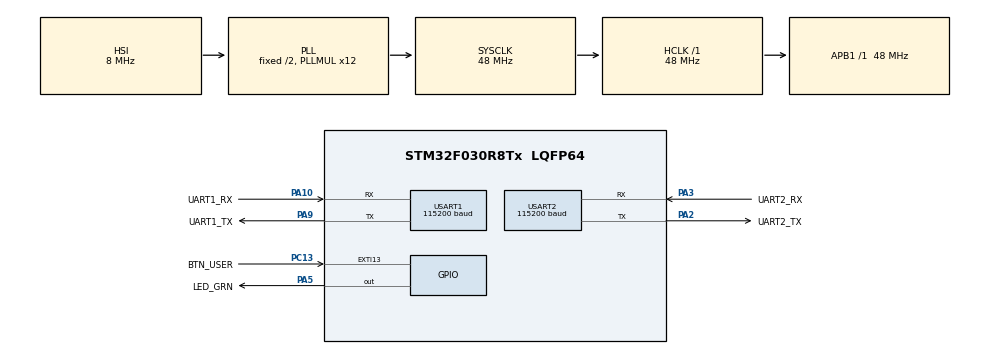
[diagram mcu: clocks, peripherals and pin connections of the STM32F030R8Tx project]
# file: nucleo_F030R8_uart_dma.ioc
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Dma.Request0=USART2_TX
Dma.Request1=USART2_RX
Dma.Request2=USART1_TX
Dma.Request3=USART1_RX
Dma.USART1_RX.3.Direction=DMA_PERIPH_TO_MEMORY
Dma.USART1_RX.3.Instance=DMA1_Channel3
Dma.USART1_RX.3.MemDataAlignment=DMA_MDATAALIGN_BYTE
Dma.USART1_RX.3.MemInc=DMA_MINC_ENABLE
Dma.USART1_RX.3.Mode=DMA_CIRCULAR
Dma.USART1_RX.3.PeriphDataAlignment=DMA_PDATAALIGN_BYTE
Dma.USART1_RX.3.PeriphInc=DMA_PINC_DISABLE
Dma.USART1_RX.3.Priority=DMA_PRIORITY_LOW
Dma.USART1_TX.2.Direction=DMA_MEMORY_TO_PERIPH
Dma.USART1_TX.2.Instance=DMA1_Channel2
Dma.USART1_TX.2.MemDataAlignment=DMA_MDATAALIGN_BYTE
Dma.USART1_TX.2.MemInc=DMA_MINC_ENABLE
Dma.USART1_TX.2.Mode=DMA_NORMAL
Dma.USART1_TX.2.PeriphDataAlignment=DMA_PDATAALIGN_BYTE
Dma.USART1_TX.2.PeriphInc=DMA_PINC_DISABLE
Dma.USART1_TX.2.Priority=DMA_PRIORITY_LOW
Dma.USART2_RX.1.Direction=DMA_PERIPH_TO_MEMORY
Dma.USART2_RX.1.Instance=DMA1_Channel5
Dma.USART2_RX.1.MemDataAlignment=DMA_MDATAALIGN_BYTE
Dma.USART2_RX.1.MemInc=DMA_MINC_ENABLE
Dma.USART2_RX.1.Mode=DMA_CIRCULAR
Dma.USART2_RX.1.PeriphDataAlignment=DMA_PDATAALIGN_BYTE
Dma.USART2_RX.1.PeriphInc=DMA_PINC_DISABLE
Dma.USART2_RX.1.Priority=DMA_PRIORITY_LOW
Dma.USART2_TX.0.Direction=DMA_MEMORY_TO_PERIPH
Dma.USART2_TX.0.Instance=DMA1_Channel4
Dma.USART2_TX.0.MemDataAlignment=DMA_MDATAALIGN_BYTE
Dma.USART2_TX.0.MemInc=DMA_MINC_ENABLE
Dma.USART2_TX.0.Mode=DMA_NORMAL
Dma.USART2_TX.0.PeriphDataAlignment=DMA_PDATAALIGN_BYTE
Dma.USART2_TX.0.PeriphInc=DMA_PINC_DISABLE
Dma.USART2_TX.0.Priority=DMA_PRIORITY_LOW
Mcu.Family=STM32F0
Mcu.Name=STM32F030R8Tx
Mcu.Package=LQFP64
NVIC.DMA1_Channel2_3_IRQn=true\:0\:0\:false\:true\:true\:2\:false\:true
NVIC.DMA1_Channel4_5_IRQn=true\:1\:0\:true\:true\:true\:1\:false\:true
NVIC.USART1_IRQn=true\:0\:0\:false\:true\:true\:3\:true\:true
NVIC.USART2_IRQn=true\:0\:0\:false\:true\:true\:4\:true\:true
PA10.GPIO_Label=UART1_RX
PA10.Mode=Asynchronous
PA10.Signal=USART1_RX
PA13.GPIO_Label=TMS
PA13.Mode=Serial_Wire
PA13.Signal=SYS_SWDIO
PA14.GPIO_Label=TCK
PA14.Mode=Serial_Wire
PA14.Signal=SYS_SWCLK
PA2.GPIO_Label=UART2_TX
PA2.GPIO_Mode=GPIO_MODE_AF_PP
PA2.GPIO_PuPd=GPIO_NOPULL
PA2.GPIO_Speed=GPIO_SPEED_FREQ_LOW
PA2.Mode=Asynchronous
PA2.Signal=USART2_TX
PA3.GPIO_Label=UART2_RX
PA3.GPIO_Mode=GPIO_MODE_AF_PP
PA3.GPIO_PuPd=GPIO_NOPULL
PA3.GPIO_Speed=GPIO_SPEED_FREQ_LOW
PA3.Mode=Asynchronous
PA3.Signal=USART2_RX
PA5.GPIO_Label=LED_GRN
PA5.GPIO_Mode=GPIO_MODE_OUTPUT_PP
PA5.GPIO_PuPd=GPIO_NOPULL
PA5.GPIO_Speed=GPIO_SPEED_FREQ_LOW
PA5.Signal=GPIO_Output
PA9.GPIO_Label=UART1_TX
PA9.Mode=Asynchronous
PA9.Signal=USART1_TX
PC13.GPIO_Label=BTN_USER
PC13.GPIO_ModeDefaultEXTI=GPIO_MODE_IT_FALLING
PC13.Signal=GPXTI13
PC14-OSC32_IN.Mode=LSE-External-Oscillator
PC14-OSC32_IN.Signal=RCC_OSC32_IN
PC15-OSC32_OUT.Mode=LSE-External-Oscillator
PC15-OSC32_OUT.Signal=RCC_OSC32_OUT
PF0-OSC_IN.Mode=HSE-External-Clock-Source
PF0-OSC_IN.Signal=RCC_OSC_IN
PF1-OSC_OUT.Signal=RCC_OSC_OUT
ProjectManager.HeapSize=0x200
ProjectManager.StackSize=0x400
ProjectManager.TargetToolchain=STM32CubeIDE
RCC.AHBFreq_Value=48000000
RCC.APB1Freq_Value=48000000
RCC.APB1TimFreq_Value=48000000
RCC.HCLKFreq_Value=48000000
RCC.PLLMUL=RCC_PLL_MUL12
RCC.SYSCLKFreq_VALUE=48000000
RCC.SYSCLKSource=RCC_SYSCLKSOURCE_PLLCLK
USART1.BaudRate=115200
USART1.VirtualMode-Asynchronous=VM_ASYNC
USART2.BaudRate=115200
USART2.StopBits=STOPBITS_1
USART2.VirtualMode-Asynchronous=VM_ASYNC
board=NUCLEO-F030R8

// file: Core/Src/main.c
/* USER CODE BEGIN Header */
/**
  ******************************************************************************
  * @file           : main.c
  * @brief          : Main program body
  ******************************************************************************
  * @attention
  *
  * <h2><center>&copy; Copyright (c) 2021 STMicroelectronics.
  * All rights reserved.</center></h2>
  *
  * This software component is licensed by ST under BSD 3-Clause license,
  * the "License"; You may not use this file except in compliance with the
  * License. You may obtain a copy of the License at:
  *                        opensource.org/licenses/BSD-3-Clause
  *
  ******************************************************************************
  */
/* USER CODE END Header */
#include "main.h"
#include "dma.h"
#include "usart.h"
#include "gpio.h"
#include "uart_fifo.h"

/* USER CODE BEGIN Includes */
#include <stdio.h>

/* USER CODE END Includes */

/* USER CODE BEGIN PD */

#define LED_ON()        HAL_GPIO_WritePin(LED_GRN_GPIO_Port, LED_GRN_Pin, GPIO_PIN_SET)
#define LED_OFF()       HAL_GPIO_WritePin(LED_GRN_GPIO_Port, LED_GRN_Pin, GPIO_PIN_RESET)
#define LED_TOGGLE()    HAL_GPIO_TogglePin(LED_GRN_GPIO_Port, LED_GRN_Pin)

/* USER CODE END PD */

/* USER CODE BEGIN PV */

/* Buffer used for transmission */
//                     123456789-1234 5
uint8_t TxBuffer1[] = "HELLO WORLD 1\r\n";
uint8_t TxBuffer2[] = "HELLO WORLD 2\r\n";
uint8_t TxBuffer3[] = "HELLO WORLD 3\r\n";
uint8_t TxBuffer4[] = "HELLO WORLD 4\r\n";

UART_TxFifo_ItemTypeDef item1;
UART_TxFifo_ItemTypeDef item2;
UART_TxFifo_ItemTypeDef item3;
UART_TxFifo_ItemTypeDef item4;

/* debug instrumentation */
__IO uint32_t ISRcount = 0;
uint32_t start_tick = 0;

/* USER CODE END PV */

void SystemClock_Config(void);
static void MX_NVIC_Init(void);
/* USER CODE BEGIN PFP */

void configure_tx_items( void );
int16_t check_UART_rx();

/* USER CODE END PFP */

int main(void)
{

  /* MCU Configuration--------------------------------------------------------*/

  /* Reset of all peripherals, Initializes the Flash interface and the Systick. */
  HAL_Init();

  /* Configure the system clock */
  SystemClock_Config();

  /* Initialize all configured peripherals */
  MX_GPIO_Init();
  MX_USART2_UART_Init();
  MX_DMA_Init();
  MX_USART1_UART_Init();

  UART_TxFifo_Init( &huart1_txfifo, &huart1 );
  UART_TxFifo_Init( &huart2_txfifo, &huart2 );

  UART_RxFifo_Init( &huart1_rxfifo, &huart1 );
  UART_RxFifo_Init( &huart2_rxfifo, &huart2 );

  /* Initialize interrupts */
  MX_NVIC_Init();
  /* USER CODE BEGIN 2 */

  printf("\r\nNUCLEO_F030R8_UART_DMA\r\n");
  printf( "Build: %s %s\r\n", __DATE__, __TIME__ );

#if 0
  /* Wait for button press */
  while (HAL_GPIO_ReadPin(BTN_USER_GPIO_Port, BTN_USER_Pin) == GPIO_PIN_SET)
  {
      /* toggle LED while waiting */
      HAL_GPIO_TogglePin(LED_GRN_GPIO_Port, LED_GRN_Pin);
      HAL_Delay(500);
  }
  /* turn off LED */
  HAL_GPIO_WritePin(LED_GRN_GPIO_Port, LED_GRN_Pin, GPIO_PIN_RESET);
#endif

#if 1
  ISRcount = 0;
  configure_tx_items();
  printf("TEST #1\r\n");
  printf("Loading Tx Fifo\r\n");
  UART_TxFifo_Transmit(&huart1_txfifo, &item1);
  UART_TxFifo_Transmit(&huart1_txfifo, &item2);
  UART_TxFifo_Transmit(&huart1_txfifo, &item3);
  UART_TxFifo_Transmit(&huart1_txfifo, &item4);
  printf("Tx ISRCount %ld\r\n", ISRcount);  /* should be 0 if we are fast enough */
  printf("Delay...\r\n");
  HAL_Delay(100);
  printf("ISRCount %ld (should be 4)\r\n", ISRcount); /* should be 4 as fifo (fifo empty) */
  printf("TxFifo.head is NULL: %s (should be true)\r\n", (huart1_txfifo.head == NULL ? "true" : "false"));
  printf("TxFifo.tail is NULL: %s (should be true)\r\n", (huart1_txfifo.tail == NULL ? "true" : "false"));

  /* Empty the RX fifo */
  while ( check_UART_rx() >= 0 );
  printf("Test #1 Done.\r\n\r\n");
#endif

  /* USER CODE END 2 */

  /* Infinite loop */
  /* USER CODE BEGIN WHILE */
#if 1
  configure_tx_items();
  printf("TEST #2\r\n");
  printf("Transmitting...\r\n");
  start_tick = HAL_GetTick();
  UART_TxFifo_Transmit( &huart1_txfifo, &item1);
  while ( HAL_GetTick( ) < start_tick + 100 )
      check_UART_rx( );

  UART_TxFifo_Transmit( &huart1_txfifo, &item2 );
  while ( HAL_GetTick( ) < start_tick + 200 )
      check_UART_rx( );

  UART_TxFifo_Transmit( &huart1_txfifo, &item3 );
  while ( HAL_GetTick( ) < start_tick + 300 )
      check_UART_rx( );

  UART_TxFifo_Transmit( &huart1_txfifo, &item4 );
  while ( HAL_GetTick( ) < start_tick + 400 )
      check_UART_rx( );
  printf( "Test #2 Done.\r\n\r\n" );
#endif

#if 1
  configure_tx_items();
  printf("TEST #3\r\n");
  printf("Transmitting...\r\n");
  start_tick = HAL_GetTick();
  UART_TxFifo_Transmit( &huart1_txfifo, &item1);
  UART_TxFifo_Transmit( &huart1_txfifo, &item2 );
  UART_TxFifo_Transmit( &huart1_txfifo, &item3 );
  UART_TxFifo_Transmit( &huart1_txfifo, &item4 );

  while ( HAL_GetTick( ) < start_tick + 400 )
      check_UART_rx( );
  printf( "Test #3 Done.\r\n\r\n" );
#endif

  while (1)
  {
    /* USER CODE END WHILE */

  }
}

void SystemClock_Config(void)
{
  RCC_OscInitTypeDef RCC_OscInitStruct = {0};
  RCC_ClkInitTypeDef RCC_ClkInitStruct = {0};
  RCC_PeriphCLKInitTypeDef PeriphClkInit = {0};

  /** Initializes the RCC Oscillators according to the specified parameters
  * in the RCC_OscInitTypeDef structure.
  */
  RCC_OscInitStruct.OscillatorType = RCC_OSCILLATORTYPE_HSI;
  RCC_OscInitStruct.HSIState = RCC_HSI_ON;
  RCC_OscInitStruct.HSICalibrationValue = RCC_HSICALIBRATION_DEFAULT;
  RCC_OscInitStruct.PLL.PLLState = RCC_PLL_ON;
  RCC_OscInitStruct.PLL.PLLSource = RCC_PLLSOURCE_HSI;
  RCC_OscInitStruct.PLL.PLLMUL = RCC_PLL_MUL12;
  RCC_OscInitStruct.PLL.PREDIV = RCC_PREDIV_DIV1;
  if (HAL_RCC_OscConfig(&RCC_OscInitStruct) != HAL_OK)
  {
    Error_Handler();
  }
  /** Initializes the CPU, AHB and APB buses clocks
  */
  RCC_ClkInitStruct.ClockType = RCC_CLOCKTYPE_HCLK|RCC_CLOCKTYPE_SYSCLK
                              |RCC_CLOCKTYPE_PCLK1;
  RCC_ClkInitStruct.SYSCLKSource = RCC_SYSCLKSOURCE_PLLCLK;
  RCC_ClkInitStruct.AHBCLKDivider = RCC_SYSCLK_DIV1;
  RCC_ClkInitStruct.APB1CLKDivider = RCC_HCLK_DIV1;

  if (HAL_RCC_ClockConfig(&RCC_ClkInitStruct, FLASH_LATENCY_1) != HAL_OK)
  {
    Error_Handler();
  }
  PeriphClkInit.PeriphClockSelection = RCC_PERIPHCLK_USART1;
  PeriphClkInit.Usart1ClockSelection = RCC_USART1CLKSOURCE_PCLK1;
  if (HAL_RCCEx_PeriphCLKConfig(&PeriphClkInit) != HAL_OK)
  {
    Error_Handler();
  }
}

/**
  * @brief NVIC Configuration.
  * @retval None
  */
static void MX_NVIC_Init(void)
{
  /* DMA1_Channel4_5_IRQn interrupt configuration */
  HAL_NVIC_SetPriority(DMA1_Channel4_5_IRQn, 1, 0);
  HAL_NVIC_EnableIRQ(DMA1_Channel4_5_IRQn);
  /* DMA1_Channel2_3_IRQn interrupt configuration */
  HAL_NVIC_SetPriority(DMA1_Channel2_3_IRQn, 0, 0);
  HAL_NVIC_EnableIRQ(DMA1_Channel2_3_IRQn);
  /* USART1_IRQn interrupt configuration */
  HAL_NVIC_SetPriority(USART1_IRQn, 0, 0);
  HAL_NVIC_EnableIRQ(USART1_IRQn);
  /* USART2_IRQn interrupt configuration */
  HAL_NVIC_SetPriority(USART2_IRQn, 0, 0);
  HAL_NVIC_EnableIRQ(USART2_IRQn);
}

/* USER CODE BEGIN 4 */

void configure_tx_items( void )
{
    item1.data = TxBuffer1;
    item1.size = 15;
    item2.data = TxBuffer2;
    item2.size = 15;
    item3.data = TxBuffer3;
    item3.size = 15;
    item4.data = TxBuffer4;
    item4.size = 15;
}

int16_t check_UART_rx( void )
{
    int16_t data = UART_RxFifo_Receive(&huart1_rxfifo);
    if (data == '\r')
    {
        printf("`\\r'");
    }
    else if (data == '\n')
    {
        printf("`\\n'\r\n");
    }
    else if (data >= 0)
    {
        printf("`%c'", (uint8_t) data);
    }
    return data;
}

void blink_fault( uint32_t code )
{
    /* choose roughly clock speed / 24 forDELAY_LOOPS */
    #define DELAY_LOOPS 2000000
    uint32_t count;
    uint32_t delay;

    HAL_GPIO_WritePin( LED_GRN_GPIO_Port, LED_GRN_Pin, GPIO_PIN_SET );
    while ( 1 )
    {
        for ( count = code; count; --count )
        {
            HAL_GPIO_WritePin( LED_GRN_GPIO_Port, LED_GRN_Pin, GPIO_PIN_SET );
            for ( delay = DELAY_LOOPS; delay; --delay )
                /* spin wait */;
            HAL_GPIO_WritePin( LED_GRN_GPIO_Port, LED_GRN_Pin, GPIO_PIN_RESET );
            for ( delay = DELAY_LOOPS; delay; --delay )
                /* spin wait */;
        }
        for ( delay = 4 * DELAY_LOOPS; delay; --delay )
            /* spin wait */;
    }
}

/* USER CODE END 4 */

void Error_Handler(void)
{
  /* USER CODE BEGIN Error_Handler_Debug */
  /* User can add his own implementation to report the HAL error return state */
  // __disable_irq();
  while (1)
  {
      // Slow LED Blink on Error (1 sec on 1sec off)
      LED_ON();
      HAL_Delay(1000);
      LED_OFF();
      HAL_Delay(1000);
  }
  /* USER CODE END Error_Handler_Debug */
}

#ifdef  USE_FULL_ASSERT
/**
  * @brief  Reports the name of the source file and the source line number
  *         where the assert_param error has occurred.
  * @param  file: pointer to the source file name
  * @param  line: assert_param error line source number
  * @retval None
  */
void assert_failed(uint8_t *file, uint32_t line)
{
  /* USER CODE BEGIN 6 */
  /* User can add his own implementation to report the file name and line number,
     ex: printf("Wrong parameters value: file %s on line %d\r\n", file, line) */
    printf("assert_failed\r\n");
    printf("File: %s\r\n", file);
    printf("Line: %ld\r\n", line;)
  /* USER CODE END 6 */
}
#endif /* USE_FULL_ASSERT */

/************************ (C) COPYRIGHT STMicroelectronics *****END OF FILE****/
